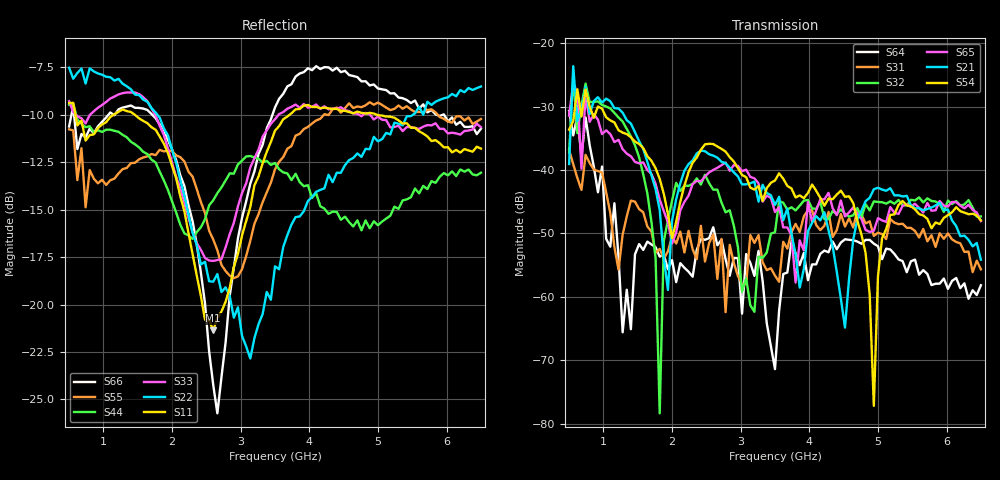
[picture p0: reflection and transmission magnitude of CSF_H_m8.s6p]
!Keysight Technologies,M9804A,MY58100912,A.14.10.03
!Date: Thursday, April 27, 2023 10:28:33
!Correction: S11(C  6-Port  )
!S12(C  6-Port  )
!S13(C  6-Port  )
!S14(C  6-Port  )
!S15(C  6-Port  )
!S16(C  6-Port  )
!S21(C  6-Port  )
!S22(C  6-Port  )
!S23(C  6-Port  )
!S24(C  6-Port  )
!S25(C  6-Port  )
!S26(C  6-Port  )
!S31(C  6-Port  )
!S32(C  6-Port  )
!S33(C  6-Port  )
!S34(C  6-Port  )
!S35(C  6-Port  )
!S36(C  6-Port  )
!S41(C  6-Port  )
!S42(C  6-Port  )
!S43(C  6-Port  )
!S44(C  6-Port  )
!S45(C  6-Port  )
!S46(C  6-Port  )
!S51(C  6-Port  )
!S52(C  6-Port  )
!S53(C  6-Port  )
!S54(C  6-Port  )
!S55(C  6-Port  )
!S56(C  6-Port  )
!S61(C  6-Port  )
!S62(C  6-Port  )
!S63(C  6-Port  )
!S64(C  6-Port  )
!S65(C  6-Port  )
!S66(C  6-Port  )
!S6P File: Measurement: :
# Hz S  RI  R 50
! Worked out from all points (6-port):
!   101 points, 500 MHz to 6.5 GHz, reference 50 ohm
!   strongest paths, dB at 500 MHz, 2 GHz, 3.5 GHz, 5 GHz, 6.5 GHz:
!     S54: -33.7, -50.8, -41.7, -56.8, -48.0
!     S21: -39.1, -48.0, -45.5, -42.8, -54.2
!     S65: -31.4, -51.6, -46.6, -47.6, -48.1
!     S32: -37.4, -44.8, -49.8, -45.0, -47.3
!     S31: -36.9, -50.5, -56.7, -49.9, -55.7
!     S64: -30.7, -54.2, -71.4, -52.0, -58.2
!   lowest |S11| = -21.4 dB at 2.6 GHz (marker M1), VSWR 1.19, Z = 42.4 + j2.29 ohm
!   |S11| at or under -10 dB: 592 MHz to 1.146 GHz (554.1 MHz wide, 63.8 % of centre); 1.46 GHz to 3.71 GHz (2.25 GHz wide, 87.1 % of centre); 4.988 GHz to end of sweep
